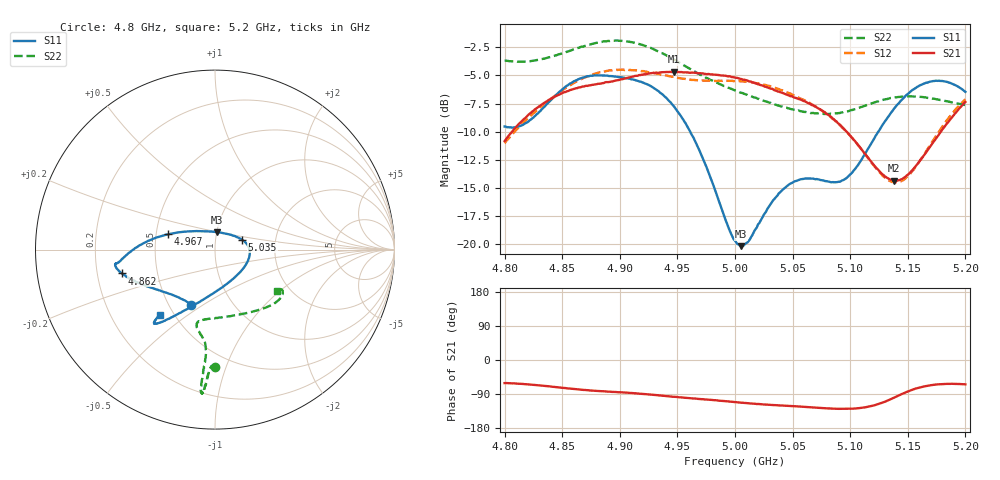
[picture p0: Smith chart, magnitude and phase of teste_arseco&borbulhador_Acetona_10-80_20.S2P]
! Network Analyzer HP8722D
! Hewlett-Packard
! Data name: Linha & Wilkinson
! Saver's name: Rodrigo Anjos
! Comments: Teste da utilização de aquisição
! continua pelo VNA HP8722D
! Time and date: 17/4/2025 14:31
!  Frequency  S11  S21  S12  S22
# HZ  S  MA R 50
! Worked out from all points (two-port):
!   401 points, 4.8 GHz to 5.2 GHz, reference 50 ohm
!   highest |S21| = -4.67 dB at 4.947 GHz (marker M1); lowest = -14.4 dB at 5.138 GHz (marker M2)
!   |S21| within 3 dB of the highest: 4.831 GHz to 5.068 GHz (236.9 MHz wide, 4.79 % of centre); 5.197157 GHz to end of sweep
!   lowest |S11| = -20.2 dB at 5.005 GHz (marker M3), VSWR 1.22, Z = 49.9 + j9.78 ohm
!   |S11| at or under -10 dB: 4.961 GHz to 5.124 GHz (163.4 MHz wide, 3.24 % of centre)
!   |S22| runs from -8.4 to -1.9 dB; largest |S21 - S12| = 0.88
!   S11 on the Smith chart (normalised r, x): 4.8 GHz: 0.65, -0.45; 4.862 GHz: 0.31, -0.11; 4.967 GHz: 0.58, +0.11; 5.035 GHz: 1.34, +0.15; 5.2 GHz: 0.42, -0.39
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4.8e9  0.3331 -113.2  0.2866 -60.9  0.2805 -175.0  0.655 -90.0
4.819e9  0.3466 -133.1  0.368 -64.0  0.3572 -173.5  0.6494 -91.6
4.862e9  0.5349 -165.6  0.4935 -77.0  0.5272 -176.7  0.7431 -93.8
4.867e9  0.5487 -167.6  0.501 -78.5  0.5431 -177.6  0.7569 -94.0
4.898e9  0.5541 -172.1  0.536 -84.7  0.595 176.1  0.8055 -95.2
4.934e9  0.477 -178.1  0.5781 -93.6  0.5731 171.9  0.7181 -95.6
4.947e9  0.4093 175.9  0.5839 -97.1  0.5549 171.9  0.6629 -95.3
4.967e9  0.2749 162.0  0.5764 -102.3  0.5347 173.9  0.5774 -95.0
5e9  0.1031 102.3  0.5504 -111.2  0.5325 176.2  0.4824 -99.1
5.005e9  0.09744 84.8  0.5429 -112.6  0.5288 176.2  0.4712 -100.3
5.013e9  0.1047 59.4  0.5295 -114.6  0.525 176.0  0.456 -102.0
5.035e9  0.1601 20.3  0.4818 -119.1  0.4946 174.9  0.4171 -103.4
5.05e9  0.1871 5.1  0.4527 -121.7  0.4616 174.1  0.3974 -99.7
5.067e9  0.1952 -13.0  0.4145 -125.1  0.4174 173.7  0.3826 -90.9
5.086e9  0.1878 -43.1  0.3579 -128.4  0.3567 173.7  0.3806 -76.6
5.097e9  0.1965 -65.7  0.3153 -128.9  0.3153 174.5  0.389 -67.5
5.134e9  0.3748 -116.2  0.1939 -105.1  0.1905 -158.0  0.4442 -42.9
5.138e9  0.3997 -118.5  0.1908 -99.5  0.1879 -151.6  0.448 -41.2
5.151e9  0.47 -124.3  0.205 -81.9  0.2028 -131.5  0.4542 -36.3
5.17e9  0.5287 -128.7  0.2735 -66.5  0.2787 -112.6  0.4453 -31.9
5.184e9  0.5265 -130.0  0.3438 -63.0  0.3558 -107.3  0.4315 -31.0
5.2e9  0.4753 -130.4  0.4284 -64.3  0.4404 -106.5  0.4149 -33.3
